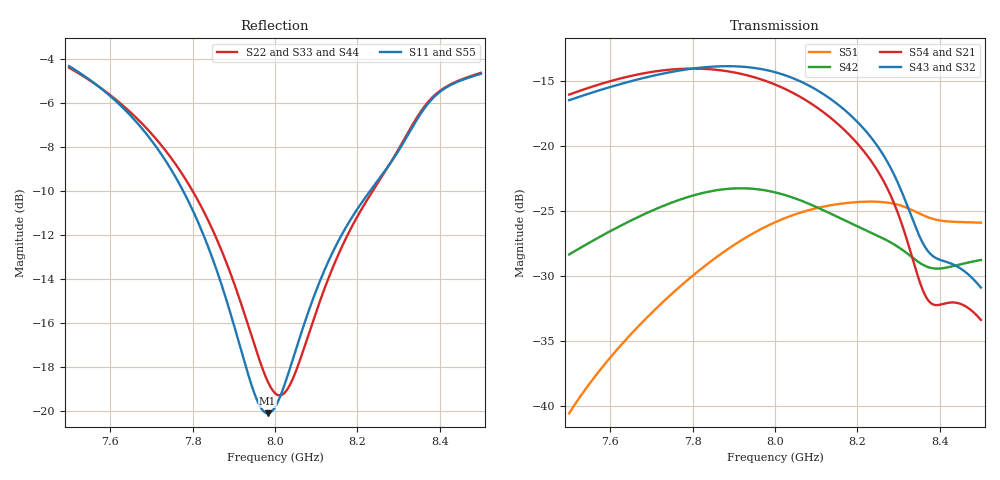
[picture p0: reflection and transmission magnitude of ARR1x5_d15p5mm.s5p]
! Touchstone file exported from HFSS 2025.1.0
!  File:  C:/Users/user/Documents/Ansoft/TFG_UWB-MIMO-Array.aedt
!  Generated:  02:04:19 PM Nov 20, 2026
!  Design:  ARR1x5_US3_PS6_dparam
!  Project:  TFG_UWB-MIMO-Array
!  Setup:  Setup_ch9
!  Solution:  Sweep_7p5_8p5
! Variables:
!  arr_d = 15.5mm
!  board_m = 13mm
!  board_x = 88mm
!  board_y = 26mm
!  cu_t = 0.035mm
!  line_w = 3.92mm
!  pad_xy = 22mm
!  pad_zn = 25mm
!  pad_zp = 33mm
!  par_L = 7.05mm
!  par_W = 11mm
!  par_yc = 0.615mm
!  par_z = 1.035mm
!  patch_L = 6.29mm
!  patch_W = 11.421266mm
!  sub_h = 2.07mm
!  tr_l = 6.6mm
!  tr_w = 0.8mm
!  u_Lu = 2.65mm
!  u_Wu = 4.4mm
!  u_t = 0.8mm
!  u_y0 = -0.7mm
# GHz S MA R 50.000000
! Terminal data exported
! Port[1] = P1
! Port[2] = P2
! Port[3] = P3
! Port[4] = P4
! Port[5] = P5
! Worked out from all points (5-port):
!   1001 points, 7.5 GHz to 8.5 GHz, reference 50 ohm
!   strongest paths, dB at 7.5 GHz, 7.75 GHz, 8 GHz, 8.25 GHz, 8.5 GHz:
!     S43: -16.5, -14.3, -14.4, -20.1, -30.9
!     S32: -16.5, -14.3, -14.4, -20.1, -30.9
!     S54: -16.1, -14.1, -15.3, -22.0, -33.4
!     S21: -16.1, -14.1, -15.3, -22.0, -33.4
!     S42: -28.4, -24.4, -23.6, -26.9, -28.8
!     S51: -40.6, -31.4, -25.9, -24.3, -25.9
!   lowest |S11| = -20.1 dB at 7.982 GHz (marker M1), VSWR 1.22, Z = 60.7 - j2.44 ohm
!   |S11| at or under -10 dB: 7.777 GHz to 8.231 GHz (454.5 MHz wide, 5.68 % of centre)
